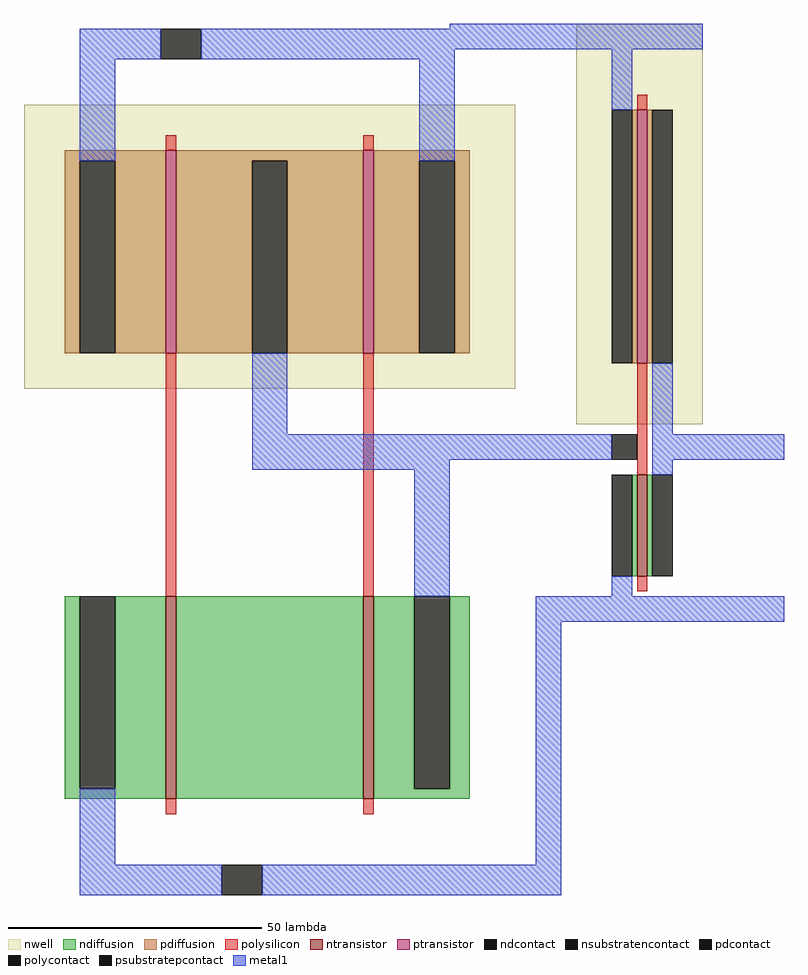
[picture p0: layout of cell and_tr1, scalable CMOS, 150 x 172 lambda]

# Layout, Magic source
magic
tech scmos
<< metal1 >>
rect 84 167 110 172
rect 83 86 103 91
rect 101 6 106 55
rect 84 0 106 6
use nand_tr  nand_tr_0
transform 1 0 0 0 1 100
box 0 -100 97 71
use first  first_0
transform 1 0 23 0 1 97
box 78 -43 127 75
<< end >>

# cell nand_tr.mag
magic
tech scmos
<< nwell >>
rect 0 0 97 56
<< ntransistor >>
rect 28 -81 30 -41
rect 67 -81 69 -41
<< ptransistor >>
rect 28 7 30 47
rect 67 7 69 47
<< ndiffusion >>
rect 8 -79 11 -41
rect 18 -79 28 -41
rect 8 -81 28 -79
rect 30 -81 67 -41
rect 69 -79 77 -41
rect 84 -79 88 -41
rect 69 -81 88 -79
<< pdiffusion >>
rect 8 45 28 47
rect 8 7 11 45
rect 18 7 28 45
rect 30 45 67 47
rect 30 7 45 45
rect 52 7 67 45
rect 69 45 88 47
rect 69 7 78 45
rect 85 7 88 45
<< ndcontact >>
rect 11 -79 18 -41
rect 77 -79 84 -41
<< pdcontact >>
rect 11 7 18 45
rect 45 7 52 45
rect 78 7 85 45
<< psubstratepcontact >>
rect 39 -100 47 -94
<< nsubstratencontact >>
rect 27 65 35 71
<< polysilicon >>
rect 28 47 30 50
rect 67 47 69 50
rect 28 -41 30 7
rect 67 -41 69 7
rect 28 -84 30 -81
rect 67 -84 69 -81
<< metal1 >>
rect 11 65 27 71
rect 35 65 85 71
rect 11 45 18 65
rect 78 45 85 65
rect 45 -9 52 7
rect 45 -16 84 -9
rect 77 -41 84 -16
rect 11 -94 18 -79
rect 11 -100 39 -94
rect 47 -100 85 -94
<< labels >>
rlabel metal1 67 -97 67 -97 1 gnd
rlabel metal1 59 68 59 68 5 vdd
<< end >>

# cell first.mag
magic
tech scmos
<< nwell >>
rect 86 -4 111 75
<< ntransistor >>
rect 98 -34 100 -14
<< ptransistor >>
rect 98 8 100 58
<< ndiffusion >>
rect 97 -34 98 -14
rect 100 -34 101 -14
<< pdiffusion >>
rect 97 8 98 58
rect 100 8 101 58
<< ndcontact >>
rect 93 -34 97 -14
rect 101 -34 105 -14
<< pdcontact >>
rect 93 8 97 58
rect 101 8 105 58
<< polysilicon >>
rect 98 58 100 61
rect 98 -14 100 8
rect 98 -37 100 -34
<< polycontact >>
rect 93 -11 98 -6
<< metal1 >>
rect 86 70 111 75
rect 93 58 97 70
rect 101 -6 105 8
rect 79 -11 93 -6
rect 101 -11 127 -6
rect 101 -14 105 -11
rect 93 -38 97 -34
rect 78 -43 127 -38
<< labels >>
rlabel metal1 96 -42 96 -42 1 gnd
rlabel metal1 95 72 95 72 5 vdd
<< end >>
